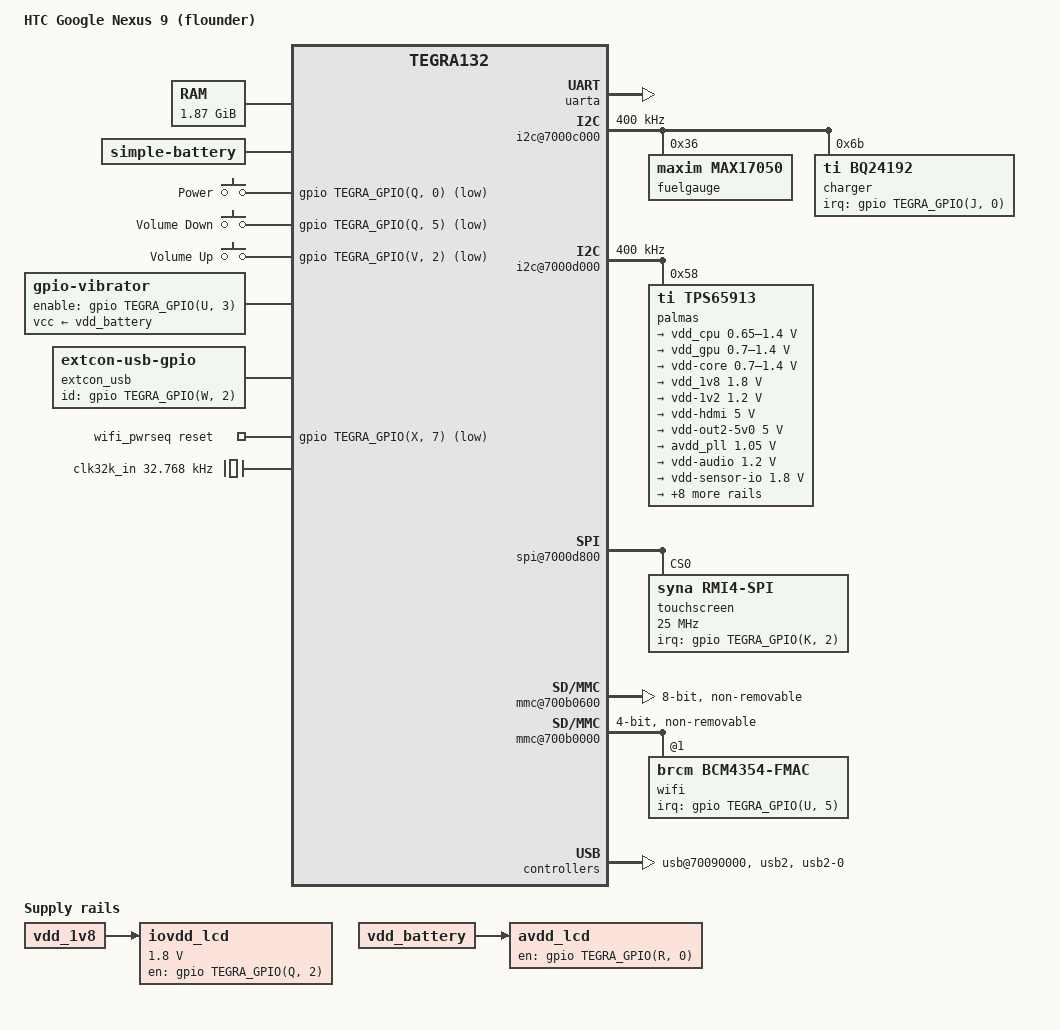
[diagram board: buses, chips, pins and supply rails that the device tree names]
// SPDX-License-Identifier: GPL-2.0
/*
 * Device tree for the HTC Nexus 9 "flounder" (Google, NVIDIA Tegra132).
 *
 * Written from scratch for mainline Linux, based on the downstream HTC
 * 3.10 device tree that was extracted from the hboot boot image
 * (hboot-analysis/appended-kernel.dts) and on the mainline
 * tegra132-norrin.dts reference board.
 *
 * Upstream status: not submitted. See docs/porting-process.md.
 */

/dts-v1/;

#include <dt-bindings/clock/tegra124-car.h>
#include <dt-bindings/gpio/tegra-gpio.h>
#include <dt-bindings/input/input.h>
#include <dt-bindings/interrupt-controller/arm-gic.h>

#include "tegra132.dtsi"

/ {
	model = "HTC Google Nexus 9 (flounder)";
	compatible = "htc,flounder", "google,flounder64", "nvidia,tegra132";

	aliases {
		rtc0 = &palmas_rtc;
		rtc1 = &tegra_rtc;
		serial0 = &uarta;
		mmc0 = &{/mmc@700b0600};	/* eMMC */
		mmc1 = &{/mmc@700b0000};	/* WiFi SDIO */
	};

	chosen {
		stdout-path = "serial0:115200n8";
		#address-cells = <2>;
		#size-cells = <2>;
		ranges;

		/*
		 * The bootloader sets up a 1536x2048 framebuffer at
		 * 0xac001000 (see tegra_fbmem=12713984@0xac001000 on the
		 * kernel command line) and keeps the relevant clocks
		 * (DISP1, DSIA, DSIB) running.  Claim it with simplefb so
		 * we get a working console until (and unless) tegra-drm
		 * takes over.  Ganged DSI mode is used by the panel, so
		 * both DSI clocks must stay on.
		 */
		framebuffer@ac001000 {
			compatible = "simple-framebuffer";
			reg = <0x0 0xac001000 0x0 0xc20000>;
			width = <1536>;
			height = <2048>;
			stride = <6144>;
			format = "a8b8g8r8";
			clocks = <&tegra_car TEGRA124_CLK_DISP1>,
				 <&tegra_car TEGRA124_CLK_DSIA>,
				 <&tegra_car TEGRA124_CLK_DSIB>;
		};
	};

	memory@80000000 {
		device_type = "memory";
		/* 0x80000000..0xf7600000: the rest of the 2 GiB is carved
		 * out by hboot (nvdumper@0xf7800000, nck@0xf7900000,
		 * TrustZone RAM @0xf7a00000, lp0 vectors @0xf7fff000). */
		reg = <0x0 0x80000000 0x0 0x77600000>;
	};

	reserved-memory {
		#address-cells = <2>;
		#size-cells = <2>;
		ranges;

		framebuffer@ac001000 {
			reg = <0x0 0xac001000 0x0 0xc20000>;
			no-map;
		};

		/* hboot persistent RAM (3 ramoops regions, used for last
		 * boot logs / reboot reason). */
		persistent-ram@f5c00000 {
			reg = <0x0 0xf5c00000 0x0 0x200000>;
			no-map;
		};

		/* Secondary CPU spin-table mailboxes. */
		cpu-release@80000000 {
			reg = <0x0 0x80000000 0x0 0x1000>;
			no-map;
		};

		cpu-release@8000f000 {
			reg = <0x0 0x8000f000 0x0 0x1000>;
			no-map;
		};
	};

	battery: battery {
		compatible = "simple-battery";
		voltage-min-design-microvolt = <3200000>;
		voltage-max-design-microvolt = <4350000>;
		charge-full-design-microamp-hours = <6700000>;
	};

	gpio-keys {
		compatible = "gpio-keys";

		key-power {
			label = "Power";
			gpios = <&gpio TEGRA_GPIO(Q, 0) GPIO_ACTIVE_LOW>;
			linux,code = <KEY_POWER>;
			debounce-interval = <20>;
			wakeup-source;
		};

		key-volume-down {
			label = "Volume Down";
			gpios = <&gpio TEGRA_GPIO(Q, 5) GPIO_ACTIVE_LOW>;
			linux,code = <KEY_VOLUMEDOWN>;
			debounce-interval = <20>;
		};

		key-volume-up {
			label = "Volume Up";
			gpios = <&gpio TEGRA_GPIO(V, 2) GPIO_ACTIVE_LOW>;
			linux,code = <KEY_VOLUMEUP>;
			debounce-interval = <20>;
		};
	};

	vibrator {
		compatible = "gpio-vibrator";
		enable-gpios = <&gpio TEGRA_GPIO(U, 3) GPIO_ACTIVE_HIGH>;
		vcc-supply = <&vdd_battery>;
	};

	extcon_usb: extcon-usb {
		compatible = "linux,extcon-usb-gpio";
		id-gpio = <&gpio TEGRA_GPIO(W, 2) GPIO_ACTIVE_HIGH>;
	};

	wifi_pwrseq: pwrseq-wifi {
		compatible = "mmc-pwrseq-simple";
		reset-gpios = <&gpio TEGRA_GPIO(X, 7) GPIO_ACTIVE_LOW>;
		post-power-on-delay-ms = <300>;
		power-off-delay-us = <300>;
	};

	clk32k_in: clock-32k {
		compatible = "fixed-clock";
		clock-frequency = <32768>;
		#clock-cells = <0>;
	};

	/* Fixed board regulators. */
	vdd_battery: regulator-vdd-battery {
		compatible = "regulator-fixed";
		regulator-name = "vdd-battery";
		regulator-always-on;
		regulator-boot-on;
	};

	avdd_lcd: regulator-avdd-lcd {
		compatible = "regulator-fixed";
		regulator-name = "avdd-lcd";
		gpio = <&gpio TEGRA_GPIO(R, 0) GPIO_ACTIVE_HIGH>;
		enable-active-high;
		regulator-boot-on;
		vin-supply = <&vdd_battery>;
	};

	iovdd_lcd: regulator-iovdd-lcd {
		compatible = "regulator-fixed";
		regulator-name = "iovdd-lcd";
		regulator-min-microvolt = <1800000>;
		regulator-max-microvolt = <1800000>;
		gpio = <&gpio TEGRA_GPIO(Q, 2) GPIO_ACTIVE_HIGH>;
		enable-active-high;
		regulator-boot-on;
		vin-supply = <&vdd_1v8>;
	};
};

/* Secondary CPU bring-up: hboot parks CPU1 with a spin-table. */
&{/cpus/cpu@0} {
	enable-method = "spin-table";
	cpu-release-addr = <0x0 0x8000fff8>;
};

&{/cpus/cpu@1} {
	enable-method = "spin-table";
	cpu-release-addr = <0x0 0x80000008>;
};

&pinmux {
	pinctrl-names = "default";
	pinctrl-0 = <&pinmux_flounder>;

	/* Ported verbatim (values only) from the hboot/downstream DT. */
	pinmux_flounder: pinmux {
		pu0 {
			nvidia,pins = "pu0";
			nvidia,function = "uarta";
			nvidia,pull = <TEGRA_PIN_PULL_NONE>;
			nvidia,tristate = <TEGRA_PIN_DISABLE>;
			nvidia,enable-input = <TEGRA_PIN_DISABLE>;
		};

		pu1 {
			nvidia,pins = "pu1";
			nvidia,function = "uarta";
			nvidia,pull = <TEGRA_PIN_PULL_UP>;
			nvidia,tristate = <TEGRA_PIN_DISABLE>;
			nvidia,enable-input = <TEGRA_PIN_ENABLE>;
		};

		uart3_cts_n_pa1 {
			nvidia,pins = "uart3_cts_n_pa1", "uart3_rxd_pw7";
			nvidia,function = "uartc";
			nvidia,pull = <TEGRA_PIN_PULL_UP>;
			nvidia,tristate = <TEGRA_PIN_DISABLE>;
			nvidia,enable-input = <TEGRA_PIN_ENABLE>;
		};

		uart3_rts_n_pc0 {
			nvidia,pins = "uart3_rts_n_pc0", "uart3_txd_pw6";
			nvidia,function = "uartc";
			nvidia,pull = <TEGRA_PIN_PULL_NONE>;
			nvidia,tristate = <TEGRA_PIN_DISABLE>;
			nvidia,enable-input = <TEGRA_PIN_DISABLE>;
		};

		pj7 {
			nvidia,pins = "pj7";
			nvidia,function = "uartd";
			nvidia,pull = <TEGRA_PIN_PULL_NONE>;
			nvidia,tristate = <TEGRA_PIN_DISABLE>;
			nvidia,enable-input = <TEGRA_PIN_DISABLE>;
		};

		pb0 {
			nvidia,pins = "pb0";
			nvidia,function = "uartd";
			nvidia,pull = <TEGRA_PIN_PULL_NONE>;
			nvidia,tristate = <TEGRA_PIN_DISABLE>;
			nvidia,enable-input = <TEGRA_PIN_ENABLE>;
		};

		ph1 {
			nvidia,pins = "ph1";
			nvidia,function = "pwm1";
			nvidia,pull = <TEGRA_PIN_PULL_NONE>;
			nvidia,tristate = <TEGRA_PIN_DISABLE>;
			nvidia,enable-input = <TEGRA_PIN_DISABLE>;
		};

		gen1_i2c_scl_pc4 {
			nvidia,pins = "gen1_i2c_scl_pc4", "gen1_i2c_sda_pc5";
			nvidia,function = "i2c1";
			nvidia,pull = <TEGRA_PIN_PULL_NONE>;
			nvidia,tristate = <TEGRA_PIN_DISABLE>;
			nvidia,enable-input = <TEGRA_PIN_ENABLE>;
			nvidia,lock = <TEGRA_PIN_DISABLE>;
			nvidia,open-drain = <TEGRA_PIN_DISABLE>;
		};

		gen2_i2c_scl_pt5 {
			nvidia,pins = "gen2_i2c_scl_pt5", "gen2_i2c_sda_pt6";
			nvidia,function = "i2c2";
			nvidia,pull = <TEGRA_PIN_PULL_NONE>;
			nvidia,tristate = <TEGRA_PIN_DISABLE>;
			nvidia,enable-input = <TEGRA_PIN_ENABLE>;
			nvidia,lock = <TEGRA_PIN_DISABLE>;
			nvidia,open-drain = <TEGRA_PIN_DISABLE>;
		};

		cam_i2c_scl_pbb1 {
			nvidia,pins = "cam_i2c_scl_pbb1", "cam_i2c_sda_pbb2";
			nvidia,function = "i2c3";
			nvidia,pull = <TEGRA_PIN_PULL_NONE>;
			nvidia,tristate = <TEGRA_PIN_DISABLE>;
			nvidia,enable-input = <TEGRA_PIN_ENABLE>;
			nvidia,lock = <TEGRA_PIN_DISABLE>;
			nvidia,open-drain = <TEGRA_PIN_DISABLE>;
		};

		pwr_i2c_scl_pz6 {
			nvidia,pins = "pwr_i2c_scl_pz6", "pwr_i2c_sda_pz7";
			nvidia,function = "i2cpwr";
			nvidia,pull = <TEGRA_PIN_PULL_NONE>;
			nvidia,tristate = <TEGRA_PIN_DISABLE>;
			nvidia,enable-input = <TEGRA_PIN_ENABLE>;
			nvidia,lock = <TEGRA_PIN_DISABLE>;
			nvidia,open-drain = <TEGRA_PIN_DISABLE>;
		};

		sdmmc3_clk_pa6 {
			nvidia,pins = "sdmmc3_clk_pa6", "sdmmc3_dat1_pb6",
				      "sdmmc3_dat2_pb5", "sdmmc3_dat3_pb4";
			nvidia,function = "spi3";
			nvidia,pull = <TEGRA_PIN_PULL_NONE>;
			nvidia,tristate = <TEGRA_PIN_DISABLE>;
			nvidia,enable-input = <TEGRA_PIN_ENABLE>;
		};

		sdmmc3_dat0_pb7 {
			nvidia,pins = "sdmmc3_dat0_pb7";
			nvidia,function = "spi3";
			nvidia,pull = <TEGRA_PIN_PULL_UP>;
			nvidia,tristate = <TEGRA_PIN_DISABLE>;
			nvidia,enable-input = <TEGRA_PIN_ENABLE>;
		};

		pg4 {
			nvidia,pins = "pg4", "pg5", "pg6";
			nvidia,function = "spi4";
			nvidia,pull = <TEGRA_PIN_PULL_NONE>;
			nvidia,tristate = <TEGRA_PIN_DISABLE>;
			nvidia,enable-input = <TEGRA_PIN_DISABLE>;
		};

		pg7 {
			nvidia,pins = "pg7";
			nvidia,function = "spi4";
			nvidia,pull = <TEGRA_PIN_PULL_NONE>;
			nvidia,tristate = <TEGRA_PIN_DISABLE>;
			nvidia,enable-input = <TEGRA_PIN_ENABLE>;
		};

		ulpi_clk_py0 {
			nvidia,pins = "ulpi_clk_py0", "ulpi_nxt_py2", "ulpi_stp_py3";
			nvidia,function = "spi5";
			nvidia,pull = <TEGRA_PIN_PULL_NONE>;
			nvidia,tristate = <TEGRA_PIN_DISABLE>;
			nvidia,enable-input = <TEGRA_PIN_DISABLE>;
		};

		ulpi_dir_py1 {
			nvidia,pins = "ulpi_dir_py1";
			nvidia,function = "spi5";
			nvidia,pull = <TEGRA_PIN_PULL_NONE>;
			nvidia,tristate = <TEGRA_PIN_DISABLE>;
			nvidia,enable-input = <TEGRA_PIN_ENABLE>;
		};

		sdmmc1_clk_pz0 {
			nvidia,pins = "sdmmc1_clk_pz0";
			nvidia,function = "sdmmc1";
			nvidia,pull = <TEGRA_PIN_PULL_NONE>;
			nvidia,tristate = <TEGRA_PIN_DISABLE>;
			nvidia,enable-input = <TEGRA_PIN_ENABLE>;
		};

		sdmmc1_cmd_pz1 {
			nvidia,pins = "sdmmc1_cmd_pz1", "sdmmc1_dat0_py7",
				      "sdmmc1_dat1_py6", "sdmmc1_dat2_py5",
				      "sdmmc1_dat3_py4";
			nvidia,function = "sdmmc1";
			nvidia,pull = <TEGRA_PIN_PULL_UP>;
			nvidia,tristate = <TEGRA_PIN_DISABLE>;
			nvidia,enable-input = <TEGRA_PIN_ENABLE>;
		};

		sdmmc4_clk_pcc4 {
			nvidia,pins = "sdmmc4_clk_pcc4";
			nvidia,function = "sdmmc4";
			nvidia,pull = <TEGRA_PIN_PULL_NONE>;
			nvidia,tristate = <TEGRA_PIN_DISABLE>;
			nvidia,enable-input = <TEGRA_PIN_ENABLE>;
		};

		sdmmc4_cmd_pt7 {
			nvidia,pins = "sdmmc4_cmd_pt7", "sdmmc4_dat0_paa0",
				      "sdmmc4_dat1_paa1", "sdmmc4_dat2_paa2",
				      "sdmmc4_dat3_paa3", "sdmmc4_dat4_paa4",
				      "sdmmc4_dat5_paa5", "sdmmc4_dat6_paa6",
				      "sdmmc4_dat7_paa7";
			nvidia,function = "sdmmc4";
			nvidia,pull = <TEGRA_PIN_PULL_UP>;
			nvidia,tristate = <TEGRA_PIN_DISABLE>;
			nvidia,enable-input = <TEGRA_PIN_ENABLE>;
		};

		sdmmc3_cmd_pa7 {
			nvidia,pins = "sdmmc3_cmd_pa7";
			nvidia,pull = <TEGRA_PIN_PULL_DOWN>;
			nvidia,tristate = <TEGRA_PIN_DISABLE>;
			nvidia,enable-input = <TEGRA_PIN_ENABLE>;
		};

		dap1_din_pn1 {
			nvidia,pins = "dap1_din_pn1";
			nvidia,function = "i2s0";
			nvidia,pull = <TEGRA_PIN_PULL_NONE>;
			nvidia,tristate = <TEGRA_PIN_ENABLE>;
			nvidia,enable-input = <TEGRA_PIN_ENABLE>;
		};

		dap1_dout_pn2 {
			nvidia,pins = "dap1_dout_pn2", "dap1_fs_pn0", "dap1_sclk_pn3";
			nvidia,function = "i2s0";
			nvidia,pull = <TEGRA_PIN_PULL_NONE>;
			nvidia,tristate = <TEGRA_PIN_ENABLE>;
			nvidia,enable-input = <TEGRA_PIN_DISABLE>;
		};

		dap2_din_pa4 {
			nvidia,pins = "dap2_din_pa4";
			nvidia,function = "i2s1";
			nvidia,pull = <TEGRA_PIN_PULL_NONE>;
			nvidia,tristate = <TEGRA_PIN_ENABLE>;
			nvidia,enable-input = <TEGRA_PIN_ENABLE>;
		};

		dap2_dout_pa5 {
			nvidia,pins = "dap2_dout_pa5", "dap2_fs_pa2", "dap2_sclk_pa3";
			nvidia,function = "i2s1";
			nvidia,pull = <TEGRA_PIN_PULL_NONE>;
			nvidia,tristate = <TEGRA_PIN_ENABLE>;
			nvidia,enable-input = <TEGRA_PIN_DISABLE>;
		};

		dap3_din_pp1 {
			nvidia,pins = "dap3_din_pp1";
			nvidia,function = "i2s2";
			nvidia,pull = <TEGRA_PIN_PULL_NONE>;
			nvidia,tristate = <TEGRA_PIN_ENABLE>;
			nvidia,enable-input = <TEGRA_PIN_ENABLE>;
		};

		dap3_dout_pp2 {
			nvidia,pins = "dap3_dout_pp2", "dap3_fs_pp0", "dap3_sclk_pp3";
			nvidia,function = "i2s2";
			nvidia,pull = <TEGRA_PIN_PULL_NONE>;
			nvidia,tristate = <TEGRA_PIN_ENABLE>;
			nvidia,enable-input = <TEGRA_PIN_DISABLE>;
		};

		dap4_din_pp5 {
			nvidia,pins = "dap4_din_pp5";
			nvidia,function = "i2s3";
			nvidia,pull = <TEGRA_PIN_PULL_NONE>;
			nvidia,tristate = <TEGRA_PIN_ENABLE>;
			nvidia,enable-input = <TEGRA_PIN_ENABLE>;
		};

		dap4_dout_pp6 {
			nvidia,pins = "dap4_dout_pp6", "dap4_fs_pp4", "dap4_sclk_pp7";
			nvidia,function = "i2s3";
			nvidia,pull = <TEGRA_PIN_PULL_NONE>;
			nvidia,tristate = <TEGRA_PIN_ENABLE>;
			nvidia,enable-input = <TEGRA_PIN_DISABLE>;
		};

		cam_mclk_pcc0 {
			nvidia,pins = "cam_mclk_pcc0";
			nvidia,function = "vi_alt3";
			nvidia,pull = <TEGRA_PIN_PULL_NONE>;
			nvidia,tristate = <TEGRA_PIN_DISABLE>;
			nvidia,enable-input = <TEGRA_PIN_DISABLE>;
			nvidia,lock = <TEGRA_PIN_DISABLE>;
		};

		pbb0 {
			nvidia,pins = "pbb0";
			nvidia,function = "vimclk2_alt";
			nvidia,pull = <TEGRA_PIN_PULL_NONE>;
			nvidia,tristate = <TEGRA_PIN_DISABLE>;
			nvidia,enable-input = <TEGRA_PIN_DISABLE>;
			nvidia,lock = <TEGRA_PIN_DISABLE>;
		};

		pj2 {
			nvidia,pins = "pj2", "clk_32k_out_pa0";
			nvidia,function = "soc";
			nvidia,pull = <TEGRA_PIN_PULL_UP>;
			nvidia,tristate = <TEGRA_PIN_DISABLE>;
			nvidia,enable-input = <TEGRA_PIN_ENABLE>;
		};

		dap_mclk1_pw4 {
			nvidia,pins = "dap_mclk1_pw4";
			nvidia,function = "extperiph1";
			nvidia,pull = <TEGRA_PIN_PULL_NONE>;
			nvidia,tristate = <TEGRA_PIN_DISABLE>;
			nvidia,enable-input = <TEGRA_PIN_DISABLE>;
		};

		clk2_out_pw5 {
			nvidia,pins = "clk2_out_pw5";
			nvidia,function = "extperiph2";
			nvidia,pull = <TEGRA_PIN_PULL_NONE>;
			nvidia,tristate = <TEGRA_PIN_DISABLE>;
			nvidia,enable-input = <TEGRA_PIN_DISABLE>;
		};

		clk3_out_pee0 {
			nvidia,pins = "clk3_out_pee0";
			nvidia,function = "extperiph3";
			nvidia,pull = <TEGRA_PIN_PULL_NONE>;
			nvidia,tristate = <TEGRA_PIN_DISABLE>;
			nvidia,enable-input = <TEGRA_PIN_DISABLE>;
		};

		jtag_rtck {
			nvidia,pins = "jtag_rtck";
			nvidia,function = "rtck";
			nvidia,pull = <TEGRA_PIN_PULL_UP>;
			nvidia,tristate = <TEGRA_PIN_DISABLE>;
			nvidia,enable-input = <TEGRA_PIN_DISABLE>;
		};

		clk_32k_in {
			nvidia,pins = "clk_32k_in";
			nvidia,function = "clk";
			nvidia,pull = <TEGRA_PIN_PULL_NONE>;
			nvidia,tristate = <TEGRA_PIN_DISABLE>;
			nvidia,enable-input = <TEGRA_PIN_ENABLE>;
		};

		core_pwr_req {
			nvidia,pins = "core_pwr_req";
			nvidia,function = "pwron";
			nvidia,pull = <TEGRA_PIN_PULL_NONE>;
			nvidia,tristate = <TEGRA_PIN_DISABLE>;
			nvidia,enable-input = <TEGRA_PIN_DISABLE>;
		};

		cpu_pwr_req {
			nvidia,pins = "cpu_pwr_req";
			nvidia,function = "cpu";
			nvidia,pull = <TEGRA_PIN_PULL_NONE>;
			nvidia,tristate = <TEGRA_PIN_DISABLE>;
			nvidia,enable-input = <TEGRA_PIN_DISABLE>;
		};

		pwr_int_n {
			nvidia,pins = "pwr_int_n";
			nvidia,function = "pmi";
			nvidia,pull = <TEGRA_PIN_PULL_UP>;
			nvidia,tristate = <TEGRA_PIN_DISABLE>;
			nvidia,enable-input = <TEGRA_PIN_ENABLE>;
		};

		reset_out_n {
			nvidia,pins = "reset_out_n";
			nvidia,function = "reset_out_n";
			nvidia,pull = <TEGRA_PIN_PULL_NONE>;
			nvidia,tristate = <TEGRA_PIN_DISABLE>;
			nvidia,enable-input = <TEGRA_PIN_DISABLE>;
		};

		pk0 {
			nvidia,pins = "pk0", "gpio_x1_aud_px1", "gpio_x4_aud_px4",
				      "gpio_x5_aud_px5", "kb_row11_ps3",
				      "sdmmc1_wp_n_pv3", "ulpi_data7_po0",
				      "kb_col3_pq3", "gpio_x3_aud_px3";
			nvidia,pull = <TEGRA_PIN_PULL_NONE>;
			nvidia,tristate = <TEGRA_PIN_DISABLE>;
			nvidia,enable-input = <TEGRA_PIN_DISABLE>;
		};

		kb_row12_ps4 {
			nvidia,pins = "kb_row12_ps4";
			nvidia,pull = <TEGRA_PIN_PULL_DOWN>;
			nvidia,tristate = <TEGRA_PIN_DISABLE>;
			nvidia,enable-input = <TEGRA_PIN_DISABLE>;
		};

		pb1 {
			nvidia,pins = "pb1", "kb_row9_ps1";
			nvidia,pull = <TEGRA_PIN_PULL_NONE>;
			nvidia,tristate = <TEGRA_PIN_DISABLE>;
			nvidia,enable-input = <TEGRA_PIN_DISABLE>;
		};

		kb_row7_pr7 {
			nvidia,pins = "kb_row7_pr7";
			nvidia,pull = <TEGRA_PIN_PULL_DOWN>;
			nvidia,tristate = <TEGRA_PIN_DISABLE>;
			nvidia,enable-input = <TEGRA_PIN_ENABLE>;
		};

		kb_col0_pq0 {
			nvidia,pins = "kb_col0_pq0", "sdmmc3_cd_n_pv2", "kb_col5_pq5";
			nvidia,pull = <TEGRA_PIN_PULL_UP>;
			nvidia,tristate = <TEGRA_PIN_DISABLE>;
			nvidia,enable-input = <TEGRA_PIN_ENABLE>;
		};

		pi3 {
			nvidia,pins = "pi3";
			nvidia,pull = <TEGRA_PIN_PULL_NONE>;
			nvidia,tristate = <TEGRA_PIN_DISABLE>;
			nvidia,enable-input = <TEGRA_PIN_DISABLE>;
		};

		gpio_w3_aud_pw3 {
			nvidia,pins = "gpio_w3_aud_pw3", "kb_row10_ps2";
			nvidia,pull = <TEGRA_PIN_PULL_NONE>;
			nvidia,tristate = <TEGRA_PIN_DISABLE>;
			nvidia,enable-input = <TEGRA_PIN_ENABLE>;
		};

		kb_row11_ps3 {
			nvidia,pins = "kb_row11_ps3", "kb_col4_pq4";
			nvidia,pull = <TEGRA_PIN_PULL_NONE>;
			nvidia,tristate = <TEGRA_PIN_DISABLE>;
			nvidia,enable-input = <TEGRA_PIN_DISABLE>;
		};

		ulpi_data0_po1 {
			nvidia,pins = "ulpi_data0_po1", "ulpi_data1_po2",
				      "ulpi_data2_po3", "ulpi_data3_po4",
				      "ulpi_data4_po5", "ulpi_data5_po6",
				      "pbb5", "kb_col7_pq7", "kb_row8_ps0",
				      "kb_row13_ps5", "kb_row14_ps6", "pcc2",
				      "pv0", "pv1";
			nvidia,pull = <TEGRA_PIN_PULL_DOWN>;
			nvidia,tristate = <TEGRA_PIN_DISABLE>;
			nvidia,enable-input = <TEGRA_PIN_ENABLE>;
		};

		gpio_x6_aud_px6 {
			nvidia,pins = "gpio_x6_aud_px6", "pj0", "pk3", "pi6",
				      "clk2_req_pcc5", "pk2", "sdmmc3_cd_n_pv2";
			nvidia,pull = <TEGRA_PIN_PULL_UP>;
			nvidia,tristate = <TEGRA_PIN_DISABLE>;
			nvidia,enable-input = <TEGRA_PIN_ENABLE>;
		};

		gpio_x7_aud_px7 {
			nvidia,pins = "gpio_x7_aud_px7", "pbb3", "pbb7", "ph2",
				      "ph3", "ph6", "ph7", "pk1", "pi0",
				      "kb_row1_pr1", "kb_row2_pr2",
				      "kb_row5_pr5", "clk3_req_pee1",
				      "pu2", "pu3", "pu4";
			nvidia,pull = <TEGRA_PIN_PULL_NONE>;
			nvidia,tristate = <TEGRA_PIN_DISABLE>;
			nvidia,enable-input = <TEGRA_PIN_DISABLE>;
		};

		gpio_w2_aud_pw2 {
			nvidia,pins = "gpio_w2_aud_pw2", "pi5", "pc7",
				      "kb_col1_pq1", "kb_row4_pr4", "pu6",
				      "spdif_out_pk5";
			nvidia,pull = <TEGRA_PIN_PULL_NONE>;
			nvidia,tristate = <TEGRA_PIN_DISABLE>;
			nvidia,enable-input = <TEGRA_PIN_ENABLE>;
		};

		pcc1 {
			nvidia,pins = "pcc1", "pcc2", "usb_vbus_en0_pn4", "pu5";
			nvidia,pull = <TEGRA_PIN_PULL_DOWN>;
			nvidia,tristate = <TEGRA_PIN_DISABLE>;
			nvidia,enable-input = <TEGRA_PIN_ENABLE>;
		};

		kb_col2_pq2 {
			nvidia,pins = "kb_col2_pq2", "kb_row0_pr0";
			nvidia,pull = <TEGRA_PIN_PULL_UP>;
			nvidia,tristate = <TEGRA_PIN_DISABLE>;
			nvidia,enable-input = <TEGRA_PIN_DISABLE>;
		};

		dap_mclk1_req_pee2 {
			nvidia,pins = "dap_mclk1_req_pee2", "pex_l0_clkreq_n_pdd2",
				      "pex_l0_rst_n_pdd1", "pex_l1_clkreq_n_pdd6",
				      "pex_l1_rst_n_pdd5", "pex_wake_n_pdd3",
				      "pff2", "kb_row15_ps7", "kb_row16_pt0",
				      "kb_row17_pt1", "owr";
			nvidia,pull = <TEGRA_PIN_PULL_DOWN>;
			nvidia,tristate = <TEGRA_PIN_ENABLE>;
			nvidia,enable-input = <TEGRA_PIN_DISABLE>;
		};
	};
};

/* Debug UART (board test points, console=ttyS0). */
&uarta {
	/delete-property/ dmas;
	/delete-property/ dma-names;
	status = "okay";
};

/* I2C1 (7000c000): battery / power management devices. */
&{/i2c@7000c000} {
	status = "okay";
	clock-frequency = <400000>;

	fuelgauge@36 {
		compatible = "maxim,max17050";
		reg = <0x36>;
		monitored-battery = <&battery>;
	};

	charger@6b {
		compatible = "ti,bq24192";
		reg = <0x6b>;
		interrupt-parent = <&gpio>;
		interrupts = <TEGRA_GPIO(J, 0) IRQ_TYPE_EDGE_FALLING>;
		monitored-battery = <&battery>;
	};
};

/* I2C5 (7000d000): TPS65913 (Palmas) PMIC. */
&{/i2c@7000d000} {
	status = "okay";
	clock-frequency = <400000>;

	palmas: pmic@58 {
		compatible = "ti,tps65913";
		reg = <0x58>;
		interrupts = <GIC_SPI 86 IRQ_TYPE_LEVEL_HIGH>;
		#interrupt-cells = <2>;
		interrupt-controller;
		ti,system-power-controller;

		palmas_rtc: rtc {
			compatible = "ti,palmas-rtc";
			interrupt-parent = <&palmas>;
			interrupts = <8 0>;
		};

		gpio {
			compatible = "ti,palmas-gpio";
			gpio-controller;
			#gpio-cells = <2>;
		};

		pinmux {
			compatible = "ti,palmas-pinctrl";
			pinctrl-names = "default";

			pinmux {
				pin_gpio0 {
					pins = "gpio0";
					function = "id";
					bias-pull-up;
				};

				pin_gpio1 {
					pins = "gpio1";
					function = "vbus_det";
				};

				pin_gpio2_7 {
					pins = "gpio2", "gpio3", "gpio4",
					       "gpio6", "gpio7";
					function = "gpio";
				};

				pin_gpio5 {
					pins = "gpio5";
					function = "clk32kgaudio";
				};
			};
		};

		pmic {
			compatible = "ti,tps65913-pmic", "ti,palmas-pmic";

			regulators {
				vdd_cpu: smps123 {
					regulator-name = "vdd-cpu";
					regulator-min-microvolt = <650000>;
					regulator-max-microvolt = <1400000>;
					regulator-always-on;
					regulator-boot-on;
				};

				vdd_gpu: smps457 {
					regulator-name = "vdd-gpu";
					regulator-min-microvolt = <700000>;
					regulator-max-microvolt = <1400000>;
				};

				smps6 {
					regulator-name = "vdd-core";
					regulator-min-microvolt = <700000>;
					regulator-max-microvolt = <1400000>;
					regulator-always-on;
					regulator-boot-on;
				};

				vdd_1v8: smps8 {
					regulator-name = "vdd-1v8";
					regulator-min-microvolt = <1800000>;
					regulator-max-microvolt = <1800000>;
					regulator-always-on;
					regulator-boot-on;
				};

				smps9 {
					regulator-name = "vdd-1v2";
					regulator-min-microvolt = <1200000>;
					regulator-max-microvolt = <1200000>;
				};

				smps10_out1 {
					regulator-name = "vdd-hdmi";
					regulator-min-microvolt = <5000000>;
					regulator-max-microvolt = <5000000>;
				};

				smps10_out2 {
					regulator-name = "vdd-out2-5v0";
					regulator-min-microvolt = <5000000>;
					regulator-max-microvolt = <5000000>;
					regulator-always-on;
					regulator-boot-on;
				};

				avdd_pll: ldo1 {
					regulator-name = "avdd-pll";
					regulator-min-microvolt = <1050000>;
					regulator-max-microvolt = <1050000>;
					regulator-always-on;
					regulator-boot-on;
				};

				ldo2 {
					regulator-name = "vdd-audio";
					regulator-min-microvolt = <1200000>;
					regulator-max-microvolt = <1200000>;
				};

				ldo3 {
					regulator-name = "vdd-sensor-io";
					regulator-min-microvolt = <1800000>;
					regulator-max-microvolt = <1800000>;
				};

				ldo4 {
					regulator-name = "vdd-sensor-2v85";
					regulator-min-microvolt = <2850000>;
					regulator-max-microvolt = <2850000>;
					regulator-always-on;
				};

				avdd_dsi_csi: ldo5 {
					regulator-name = "avdd-dsi-csi";
					regulator-min-microvolt = <1200000>;
					regulator-max-microvolt = <1200000>;
					regulator-boot-on;
				};

				ldo6 {
					regulator-name = "vdd-1v5-ldo6";
					regulator-min-microvolt = <1500000>;
					regulator-max-microvolt = <1800000>;
				};

				ldo7 {
					regulator-name = "dvdd-slimport";
					regulator-min-microvolt = <1000000>;
					regulator-max-microvolt = <1100000>;
				};

				ldo8 {
					regulator-name = "vdd-rtc";
					regulator-min-microvolt = <950000>;
					regulator-max-microvolt = <950000>;
					regulator-always-on;
					regulator-boot-on;
				};

				ldo9 {
					regulator-name = "vdd-3p3-ldo9";
					regulator-min-microvolt = <1800000>;
					regulator-max-microvolt = <3300000>;
				};

				ldoln {
					regulator-name = "vddio-hv";
					regulator-min-microvolt = <3300000>;
					regulator-max-microvolt = <3300000>;
				};

				ldousb_reg: ldousb {
					regulator-name = "avdd-usb";
					regulator-min-microvolt = <3300000>;
					regulator-max-microvolt = <3300000>;
				};
			};
		};
	};
};

/* SPI2 (7000d800): Synaptics RMI4 touch controller. */
&{/spi@7000d800} {
	status = "okay";

	touchscreen@0 {
		compatible = "syna,rmi4-spi";
		reg = <0>;
		spi-max-frequency = <25000000>;
		spi-cpha;
		spi-cpol;
		spi-rx-delay-us = <30>;
		spi-tx-delay-us = <30>;
		interrupt-parent = <&gpio>;
		interrupts = <TEGRA_GPIO(K, 2) IRQ_TYPE_EDGE_FALLING>;

		#address-cells = <1>;
		#size-cells = <0>;

		rmi4-f01@1 {
			reg = <1>;
			syna,nosleep-mode = <1>;
		};

		rmi4-f12@12 {
			reg = <12>;
			syna,sensor-type = <1>;
		};
	};
};

/* eMMC (SDMMC4). */
&{/mmc@700b0600} {
	status = "okay";
	bus-width = <8>;
	mmc-hs200-1_8v;
	nvidia,only-1-8v;
	non-removable;
	vqmmc-supply = <&vdd_1v8>;
};

/* WiFi SDIO (SDMMC1): Broadcom BCM4354.
 * Needs firmware (brcm/brcmfmac4354-sdio.bin + NVRAM) to be useful. */
&{/mmc@700b0000} {
	status = "okay";
	#address-cells = <1>;
	#size-cells = <0>;
	bus-width = <4>;
	non-removable;
	keep-power-in-suspend;
	cap-power-off-card;
	mmc-pwrseq = <&wifi_pwrseq>;
	vqmmc-supply = <&vdd_1v8>;

	wifi@1 {
		compatible = "brcm,bcm4354-fmac", "brcm,bcm4329-fmac";
		reg = <1>;
		interrupt-parent = <&gpio>;
		interrupts = <TEGRA_GPIO(U, 5) IRQ_TYPE_LEVEL_HIGH>;
		interrupt-names = "host-wake";
	};
};

/* XUSB: single micro-USB OTG port on lane usb2-0.
 * Device (gadget) mode is not supported by mainline xhci-tegra; the
 * downstream tegra-udc has no mainline counterpart. */
&{/usb@70090000} {
	status = "okay";
	phys = <&{/padctl@7009f000/pads/usb2/lanes/usb2-0}>;
	phy-names = "usb2-0";
};

&padctl {
	avdd-pll-utmip-supply = <&vdd_1v8>;
	avdd-pll-erefe-supply = <&avdd_pll>;
	avdd-pex-pll-supply = <&avdd_pll>;
	hvdd-pex-pll-e-supply = <&ldousb_reg>;

	pads {
		usb2 {
			status = "okay";

			lanes {
				usb2-0 {
					nvidia,function = "xusb";
					status = "okay";
				};
			};
		};
	};

	ports {
		usb2-0 {
			status = "okay";
			mode = "otg";
		};
	};
};
